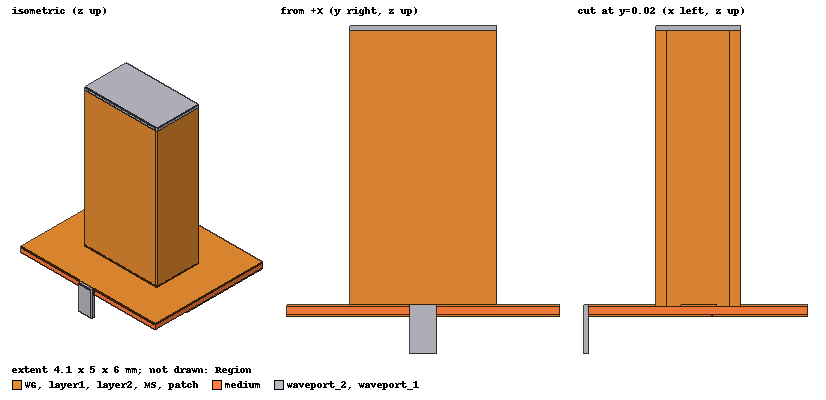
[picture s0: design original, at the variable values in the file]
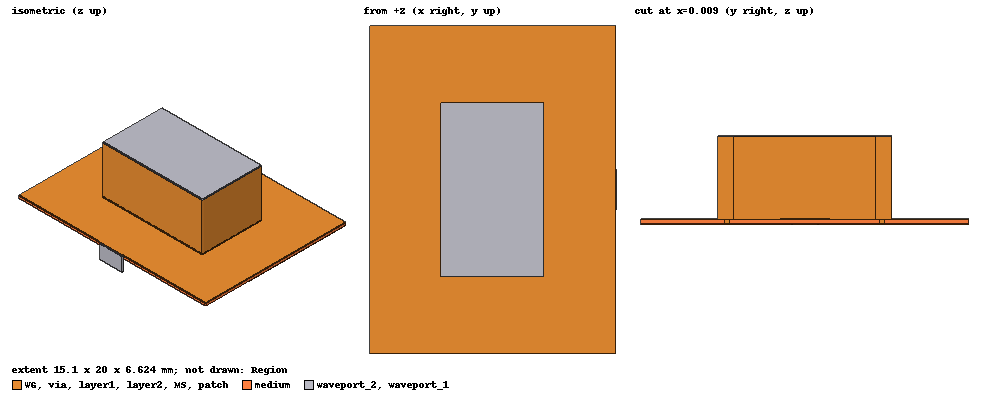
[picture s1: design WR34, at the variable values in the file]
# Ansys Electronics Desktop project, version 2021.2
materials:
  vacuum: permittivity=1
  Rogers RO4003 (tm): permittivity=3.55 dielectric_loss_tangent=0.0027
  copper: permeability=0.999991 conductivity=58000000
  quartz_glass: permittivity=3.78
  air: permittivity=1.0006 permeability=1.0000004
  pec: conductivity=1e+30

design original (HFSS, DrivenModal, model units mm)
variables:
  m_length = 4mm
  m_thickness = 0.15mm
  m_width = 5mm
  line_thickness = 0.035mm
  patch_length = 0.66mm
  patch_width = 0.69mm
  WG_length = 1.15mm
  WG_width = 2.29mm
  WG_thickness = 0.2mm
  WG_high = 5.035mm
  MS_patch_length = 0.47mm
  MS_patch_width = 0.45mm
  gap = 0.03mm
  MS_length = 1.765mm
  MS_width = 0.1mm
  via_radius = 0.05mm
  W_via = 2.54mm
  L_via = 1.27mm
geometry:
  medium [quartz_glass] = box(corner=(-m_length /2, -m_width /2, - m_thickness /2), size=(m_length, m_width, m_thickness))
  layer1 [copper] = box(corner=(-m_length /2, -m_width /2, m_thickness /2), size=(m_length, m_width, line_thickness))
  layer2 [copper] = box(corner=(-m_length /2, -m_width /2, - m_thickness /2 - line_thickness), size=(m_length -1.2mm, m_width, line_thickness))
  patch [copper] = box(corner=(-patch_length /2, -patch_width /2, m_thickness /2), size=(patch_length, patch_width, line_thickness))
  WG_sub = box(corner=(-WG_length /2, -WG_width /2, m_thickness /2), size=(WG_length, WG_width, WG_high))
  WG [copper] = box(corner=(- ( WG_length+ WG_thickness*2) /2, -(WG_width+ WG_thickness*2) /2, m_thickness /2), size=(WG_length + WG_thickness*2, WG_width + WG_thickness*2, WG_high))
  WG_1 = WG.copy()
  layer1.subtract(WG_1)
  WG_sub_1 = WG_sub.copy()
  WG_sub.delete()
  WG.subtract(WG_sub_1)
  MS_patch = box(corner=(- MS_patch_length /2, - MS_patch_width  /2, - m_thickness /2 - line_thickness), size=(MS_patch_length, MS_patch_width, line_thickness))
  MS_patch_sub = box(corner=(- (MS_patch_length+gap*2) /2, - (MS_patch_width+gap*2)  /2, - m_thickness /2 - line_thickness), size=(MS_patch_length+gap*2, MS_patch_width+gap*2, line_thickness))
  MS [copper] = box(corner=(m_length /2 - MS_length, - MS_width  /2, - m_thickness /2 - line_thickness), size=(MS_length, MS_width, line_thickness))
  MS_sub = box(corner=(m_length /2 - MS_length -gap, - (MS_width + gap*2) /2, - m_thickness /2 - line_thickness), size=(MS_length + gap, MS_width + gap*2, line_thickness))
  MS_sub.unite(MS_patch_sub)
  MS.unite(MS_patch)
  MS_sub_1 = MS_sub.copy()
  MS_sub.delete()
  layer2.subtract(MS_sub_1)
  via1 [copper] = cylinder(axis=Z, base_centre=(- L_via/2, W_via /2, - m_thickness /2), radius=via_radius, height=m_thickness)
  via1_1..via1_9 = via1.duplicate_along_line(step=(0.15mm, 0mm, 0mm), total=10)
  via1_10..via1_26 = via1.duplicate_along_line(step=(0mm, -0.15mm, 0mm), total=18)
  via1_26.move(0.12mm, 0.05mm, 0mm)
  via1_26_1..via1_26_8 = via1_26.duplicate_along_line(step=(0.15mm, 0mm, 0mm), total=9)
  via1_26_8_1..via1_26_8_7 = via1_26_8.duplicate_along_line(step=(0mm, 0.15mm, 0mm), total=8)
  via1_26_8_7_1 = via1_26_8_7.duplicate_mirror(point=(0mm, 0mm, 0mm), normal=(0mm, 1mm, 0mm))
  via1_26_8_1_1 = via1_26_8_1.duplicate_mirror(point=(0mm, 0mm, 0mm), normal=(0mm, 1mm, 0mm))
  via1_26_8_2_1 = via1_26_8_2.duplicate_mirror(point=(0mm, 0mm, 0mm), normal=(0mm, 1mm, 0mm))
  via1_26_8_3_1 = via1_26_8_3.duplicate_mirror(point=(0mm, 0mm, 0mm), normal=(0mm, 1mm, 0mm))
  via1_26_8_4_1 = via1_26_8_4.duplicate_mirror(point=(0mm, 0mm, 0mm), normal=(0mm, 1mm, 0mm))
  via1_26_8_5_1 = via1_26_8_5.duplicate_mirror(point=(0mm, 0mm, 0mm), normal=(0mm, 1mm, 0mm))
  via1_26_8_6_1 = via1_26_8_6.duplicate_mirror(point=(0mm, 0mm, 0mm), normal=(0mm, 1mm, 0mm))
  via1.unite(via1_1..via1_26, via1_26_1..via1_26_8, via1_26_8_1, via1_26_8_1_1, via1_26_8_2, via1_26_8_2_1, via1_26_8_3, via1_26_8_3_1, via1_26_8_4, via1_26_8_4_1, via1_26_8_5, via1_26_8_5_1, via1_26_8_6, via1_26_8_6_1, via1_26_8_7, via1_26_8_7_1)
  waveport1 = rectangle(corner=(m_length /2, -5*MS_width/2, m_thickness /2 + line_thickness), y_size=5*MS_width, z_size=-6*m_thickness)
  waveport_1 [pec] = box(corner=(m_length /2, -5*MS_width/2, m_thickness /2 + line_thickness), size=(0.1mm, 5*MS_width, -6*m_thickness))
  waveport2 = rectangle(corner=(- ( WG_length+ WG_thickness*2) /2, -(WG_width+ WG_thickness*2) /2, m_thickness /2 + WG_high), x_size=WG_length+ WG_thickness*2, y_size=WG_width+ WG_thickness*2)
  waveport_2 [pec] = box(corner=(- ( WG_length+ WG_thickness*2) /2, -(WG_width+ WG_thickness*2) /2, m_thickness /2 + WG_high), size=(WG_length+ WG_thickness*2, WG_width+ WG_thickness*2, 0.1mm))
  Region [air] = region(percentage_offset=30 on all sides)
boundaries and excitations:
  Rad1: Radiation Objects=Region
  1: Wave Port Objects=waveport1 NumModes=1 Modes{Mode1{CharImp=Zpi}}
  2: Wave Port Objects=waveport2 NumModes=1 Modes{Mode1{CharImp=Zpi}}
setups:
  Setup1: HfssDriven Frequency=94GHz MaxDeltaS=0.02 MaximumPasses=6 MinimumPasses=1 MinimumConvergedPasses=1 PercentRefinement=30 BasisOrder=1 PortAccuracy=2
    sweep Sweep: 84GHz to 104GHz step 0.05GHz; Type=Interpolating InterpTolerance=0.5 InterpMaxSolns=250 InterpUsePortImped=false PassivityErrorTolerance=0.0001
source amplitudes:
  1:1: 1W 0deg
  2:1: 0W 0deg
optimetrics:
  ParametricSetup1: Parametric Sim._Setups=[Setup1]
    sweep gap: 0.04mm
  ParametricSetup2: Parametric Sim._Setups=[Setup1]
    sweep gap: 0.1mm
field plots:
  Mag_E1, Mag_E2: E Field in medium on Setup1 : LastAdaptive at Freq=94GHz Phase=0deg
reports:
  S Parameter Plot 1: dB(S(1,1)), dB(S(2,1)) vs Freq on Setup1 : Sweep; markers MY1 at y=-10
  S Parameter Plot 2: dB(S(1,1)), dB(S(2,1)) vs Freq on Setup1 : Sweep [gap=0.04mm]; markers MX1 at x=9.4e+10
  S Parameter Plot 3: dB(S(1,1)), dB(S(2,1)) vs Freq on Setup1 : Sweep [gap=0.1mm]

design WR34 (HFSS, DrivenModal, model units mm)
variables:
  m_length = 15mm
  m_thickness = 0.254mm
  m_width = 20mm
  line_thickness = 0.035mm
  patch_length = 2.4mm
  patch_width = 3mm
  WG_length = 4.318mm
  WG_width = 8.636mm
  WG_thickness = 1mm
  WG_high = 5.035mm
  MS_patch_length = 1.6mm
  MS_patch_width = 1.5mm
  gap = 0.1mm
  MS_length = m_length /2 -MS_patch_length /2
  MS_width = 0.48mm
  via_radius = 0.2mm
  W_via = 8.636mm
  L_via = 1.27mm
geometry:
  medium [Rogers RO4003 (tm)] = box(corner=(-m_length /2, -m_width /2, - m_thickness /2), size=(m_length, m_width, m_thickness))
  layer1 [copper] = box(corner=(-m_length /2, -m_width /2, m_thickness /2), size=(m_length, m_width, line_thickness))
  layer2 [copper] = box(corner=(-m_length /2, -m_width /2, - m_thickness /2 - line_thickness), size=(m_length - 4.5 mm, m_width, line_thickness))
  patch [copper] = box(corner=(-patch_length /2, -patch_width /2, m_thickness /2), size=(patch_length, patch_width, line_thickness))
  WG_sub = box(corner=(-WG_length /2, -WG_width /2, m_thickness /2), size=(WG_length, WG_width, WG_high))
  WG [copper] = box(corner=(- ( WG_length+ WG_thickness*2) /2, -(WG_width+ WG_thickness*2) /2, m_thickness /2), size=(WG_length + WG_thickness*2, WG_width + WG_thickness*2, WG_high))
  WG_1 = WG.copy()
  layer1.subtract(WG_1)
  WG_sub_1 = WG_sub.copy()
  WG_sub.delete()
  WG.subtract(WG_sub_1)
  MS_patch = box(corner=(- MS_patch_length /2, - MS_patch_width  /2, - m_thickness /2 - line_thickness), size=(MS_patch_length, MS_patch_width, line_thickness))
  MS_patch_sub = box(corner=(- (MS_patch_length+gap*2) /2, - (MS_patch_width+gap*2)  /2, - m_thickness /2 - line_thickness), size=(MS_patch_length+gap*2, MS_patch_width+gap*2, line_thickness))
  MS [copper] = box(corner=(m_length /2 - MS_length, - MS_width  /2, - m_thickness /2 - line_thickness), size=(MS_length, MS_width, line_thickness))
  MS_sub = box(corner=(m_length /2 - MS_length -gap, - (MS_width + gap*2) /2, - m_thickness /2 - line_thickness), size=(MS_length + gap, MS_width + gap*2, line_thickness))
  MS_sub.unite(MS_patch_sub)
  MS.unite(MS_patch)
  MS_sub_1 = MS_sub.copy()
  MS_sub.delete()
  layer2.subtract(MS_sub_1)
  waveport1 = rectangle(corner=(m_length /2, -5*MS_width/2, m_thickness /2 + line_thickness), y_size=5*MS_width, z_size=-6*m_thickness)
  waveport_1 [pec] = box(corner=(m_length /2, -5*MS_width/2, m_thickness /2 + line_thickness), size=(0.1mm, 5*MS_width, -6*m_thickness))
  waveport2 = rectangle(corner=(- ( WG_length+ WG_thickness*2) /2, -(WG_width+ WG_thickness*2) /2, m_thickness /2 + WG_high), x_size=WG_length+ WG_thickness*2, y_size=WG_width+ WG_thickness*2)
  waveport_2 [pec] = box(corner=(- ( WG_length+ WG_thickness*2) /2, -(WG_width+ WG_thickness*2) /2, m_thickness /2 + WG_high), size=(WG_length+ WG_thickness*2, WG_width+ WG_thickness*2, 0.1mm))
  Region [air] = region(percentage_offset=30 on all sides)
  via [copper] = cylinder(axis=Z, base_centre=(WG_length /2 + via_radius *2, WG_width /2 +via_radius *2, -m_thickness /2), radius=via_radius, height=m_thickness)
  via_1..via_9 = via.duplicate_along_line(step=(-0.6mm, 0mm, 0mm), total=10)
  via_9.move(0.3mm, -0.6mm, 0mm)
  via_9_1..via_9_14 = via_9.duplicate_along_line(step=(0mm, -0.6mm, 0mm), total=15)
  via_10..via_16 = via.duplicate_along_line(step=(0mm, -0.55mm, 0mm), total=8)
  via_17 = via.duplicate_mirror(point=(0mm, 0mm, 0.162mm), normal=(0mm, 1mm, 0mm))
  via_1_1 = via_1.duplicate_mirror(point=(0mm, 0mm, 0.162mm), normal=(0mm, 1mm, 0mm))
  via_2_1 = via_2.duplicate_mirror(point=(0mm, 0mm, 0.162mm), normal=(0mm, 1mm, 0mm))
  via_3_1 = via_3.duplicate_mirror(point=(0mm, 0mm, 0.162mm), normal=(0mm, 1mm, 0mm))
  via_4_1 = via_4.duplicate_mirror(point=(0mm, 0mm, 0.162mm), normal=(0mm, 1mm, 0mm))
  via_5_1 = via_5.duplicate_mirror(point=(0mm, 0mm, 0.162mm), normal=(0mm, 1mm, 0mm))
  via_6_1 = via_6.duplicate_mirror(point=(0mm, 0mm, 0.162mm), normal=(0mm, 1mm, 0mm))
  via_7_1 = via_7.duplicate_mirror(point=(0mm, 0mm, 0.162mm), normal=(0mm, 1mm, 0mm))
  via_8_1 = via_8.duplicate_mirror(point=(0mm, 0mm, 0.162mm), normal=(0mm, 1mm, 0mm))
  via_10_1 = via_10.duplicate_mirror(point=(0mm, 0mm, 0.162mm), normal=(0mm, 1mm, 0mm))
  via_11_1 = via_11.duplicate_mirror(point=(0mm, 0mm, 0.162mm), normal=(0mm, 1mm, 0mm))
  via_12_1 = via_12.duplicate_mirror(point=(0mm, 0mm, 0.162mm), normal=(0mm, 1mm, 0mm))
  via_13_1 = via_13.duplicate_mirror(point=(0mm, 0mm, 0.162mm), normal=(0mm, 1mm, 0mm))
  via_14_1 = via_14.duplicate_mirror(point=(0mm, 0mm, 0.162mm), normal=(0mm, 1mm, 0mm))
  via_15_1 = via_15.duplicate_mirror(point=(0mm, 0mm, 0.162mm), normal=(0mm, 1mm, 0mm))
  via_16_1 = via_16.duplicate_mirror(point=(0mm, 0mm, 0.162mm), normal=(0mm, 1mm, 0mm))
  via_18 = via.copy()
  via_1_2 = via_1.copy()
  via_1_1_1 = via_1_1.copy()
  via_10_2 = via_10.copy()
  via_10_1_1 = via_10_1.copy()
  via_11_2 = via_11.copy()
  via_11_1_1 = via_11_1.copy()
  via_12_2 = via_12.copy()
  via_12_1_1 = via_12_1.copy()
  via_13_2 = via_13.copy()
  via_13_1_1 = via_13_1.copy()
  via_14_2 = via_14.copy()
  via_14_1_1 = via_14_1.copy()
  via_15_2 = via_15.copy()
  via_15_1_1 = via_15_1.copy()
  via_16_2 = via_16.copy()
  via_16_1_1 = via_16_1.copy()
  via_17_1 = via_17.copy()
  via_2_2 = via_2.copy()
  via_2_1_1 = via_2_1.copy()
  via_3_2 = via_3.copy()
  via_3_1_1 = via_3_1.copy()
  via_4_2 = via_4.copy()
  via_4_1_1 = via_4_1.copy()
  via_5_2 = via_5.copy()
  via_5_1_1 = via_5_1.copy()
  via_6_2 = via_6.copy()
  via_6_1_1 = via_6_1.copy()
  via_7_2 = via_7.copy()
  via_7_1_1 = via_7_1.copy()
  via_8_2 = via_8.copy()
  via_8_1_1 = via_8_1.copy()
  via_9_15 = via_9.copy()
  via_9_1_1 = via_9_1.copy()
  via_9_10_1 = via_9_10.copy()
  via_9_11_1 = via_9_11.copy()
  via_9_12_1 = via_9_12.copy()
  via_9_13_1 = via_9_13.copy()
  via_9_14_1 = via_9_14.copy()
  via_9_2_1 = via_9_2.copy()
  via_9_3_1 = via_9_3.copy()
  via_9_4_1 = via_9_4.copy()
  via_9_5_1 = via_9_5.copy()
  via_9_6_1 = via_9_6.copy()
  via_9_7_1 = via_9_7.copy()
  via_9_8_1 = via_9_8.copy()
  via_9_9_1 = via_9_9.copy()
  medium.subtract(via_18, via_1_2, via_1_1_1, via_10_2, via_10_1_1, via_11_2, via_11_1_1, via_12_2, via_12_1_1, via_13_2, via_13_1_1, via_14_2, via_14_1_1, via_15_2, via_15_1_1, via_16_2, via_16_1_1, via_17_1, via_2_2, via_2_1_1, via_3_2, via_3_1_1, via_4_2, via_4_1_1, via_5_2, via_5_1_1, via_6_2, via_6_1_1, via_7_2, via_7_1_1, via_8_2, via_8_1_1, via_9_15, via_9_1_1, via_9_10_1, via_9_11_1, via_9_12_1, via_9_13_1, via_9_14_1, via_9_2_1, via_9_3_1, via_9_4_1, via_9_5_1, via_9_6_1, via_9_7_1, via_9_8_1, via_9_9_1)
  via.unite(via_1, via_1_1, via_2, via_2_1, via_3, via_3_1, via_4, via_4_1, via_5, via_5_1, via_6, via_6_1, via_7, via_7_1, via_8, via_8_1, via_9, via_9_1..via_9_14, via_10, via_10_1, via_11, via_11_1, via_12, via_12_1, via_13, via_13_1, via_14, via_14_1, via_15, via_15_1, via_16, via_16_1, via_17)
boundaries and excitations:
  Rad1: Radiation Objects=Region
  1: Wave Port Objects=waveport1 NumModes=1 Modes{Mode1{CharImp=Zpi}}
  2: Wave Port Objects=waveport2 NumModes=1 Modes{Mode1{CharImp=Zpi}}
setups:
  Setup1: HfssDriven Frequency=27.5GHz MaxDeltaS=0.02 MaximumPasses=10 MinimumPasses=2 MinimumConvergedPasses=2 PercentRefinement=30 BasisOrder=1 PortAccuracy=2
    sweep Sweep: 22GHz to 33GHz step 0.05GHz; Type=Interpolating InterpTolerance=0.5 InterpMaxSolns=250 InterpUsePortImped=false PassivityErrorTolerance=0.0001
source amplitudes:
  1:1: 1W 0deg
  2:1: 0W 0deg
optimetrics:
  m_thickness: Parametric Sim._Setups=[Setup1]
    sweep m_thickness: 0.127mm 0.508mm 0.787mm 1.52mm
  patch_size: Parametric Sim._Setups=[Setup1]
    sweep patch_length: LIN 1.6mm 2.6mm 0.2mm
    sweep patch_width: LIN 1.8mm 3mm 0.2mm
  MS_width: Parametric Sim._Setups=[Setup1]
    sweep MS_width: LIN 0.46mm 0.53mm 0.01mm
  gap_width: Parametric Sim._Setups=[Setup1]
    sweep gap: LIN 0.1mm 0.2mm 0.01mm
  ParametricSetup1: Parametric Sim._Setups=[Setup1]
    sweep MS_patch_width: LIN 1mm 4.5mm 0.5mm
    sweep patch_width: LIN 2mm 6mm 0.5mm
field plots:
  Mag_E1: E Field in medium on Setup1 : LastAdaptive at Freq=27.5GHz Phase=0deg
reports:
  S Parameter Plot 1: dB(S(1,1)), dB(S(2,1)) vs Freq on Setup1 : Sweep; markers MY1 at y=-1, MY2 at y=-10
  S Parameter Plot 2: dB(S(2,1)) vs Freq on Setup1 : Sweep [m_thickness=all]
  S Parameter Plot 3: dB(S(2,1)) vs Freq on Setup1 : Sweep [patch_width=all MS_patch_width=all]; markers MY1 at y=-1
